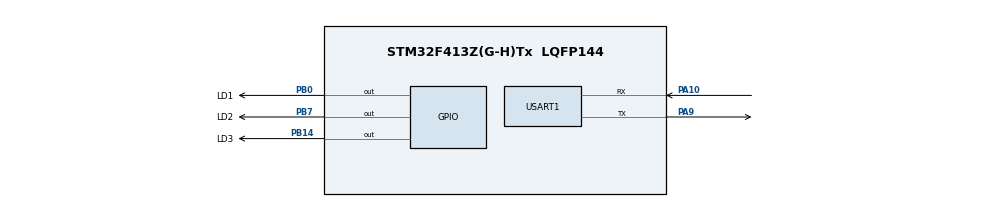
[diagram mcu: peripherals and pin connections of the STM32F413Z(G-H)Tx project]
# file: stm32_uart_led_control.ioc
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Mcu.Family=STM32F4
Mcu.Name=STM32F413Z(G-H)Tx
Mcu.Package=LQFP144
NVIC.PriorityGroup=NVIC_PRIORITYGROUP_4
NVIC.USART1_IRQn=true\:0\:0\:false\:false\:true\:true\:true\:true
PA10.Mode=Asynchronous
PA10.Signal=USART1_RX
PA9.Mode=Asynchronous
PA9.Signal=USART1_TX
PB0.GPIO_Label=LD1
PB0.Signal=GPIO_Output
PB14.GPIO_Label=LD3
PB14.Signal=GPIO_Output
PB7.GPIO_Label=LD2
PB7.Signal=GPIO_Output
ProjectManager.HeapSize=0x200
ProjectManager.StackSize=0x400
ProjectManager.TargetToolchain=STM32CubeIDE
RCC.CortexFreq_Value=16000000
RCC.USBFreq_Value=96000000
RCC.VCOOutputFreq_Value=192000000
USART1.VirtualMode=VM_ASYNC
board=custom

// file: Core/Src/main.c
/* USER CODE BEGIN Header */
/**
  ******************************************************************************
  * @file           : main.c
  * @brief          : Main program body
  ******************************************************************************
  * @attention
  *
  * Copyright (c) 2026 STMicroelectronics.
  * All rights reserved.
  *
  * This software is licensed under terms that can be found in the LICENSE file
  * in the root directory of this software component.
  * If no LICENSE file comes with this software, it is provided AS-IS.
  *
  ******************************************************************************
  */
/* USER CODE END Header */
#include "main.h"

/* USER CODE BEGIN Includes */
#include "string.h"

/* USER CODE END Includes */

UART_HandleTypeDef huart1;

/* USER CODE BEGIN PV */
volatile uint8_t rxData[10];
volatile uint8_t newMessageFlag = 0;
volatile uint8_t rx_index = 0;

/* USER CODE END PV */

void SystemClock_Config(void);
static void MX_GPIO_Init(void);
static void MX_USART1_UART_Init(void);

int main(void)
{

  /* MCU Configuration--------------------------------------------------------*/

  /* Reset of all peripherals, Initializes the Flash interface and the Systick. */
  HAL_Init();

  /* Configure the system clock */
  SystemClock_Config();

  /* Initialize all configured peripherals */
  MX_GPIO_Init();
  MX_USART1_UART_Init();
  /* USER CODE BEGIN 2 */
  HAL_UART_Transmit(&huart1, (uint8_t*)"Ready\r\n", 7, 100);
  __HAL_UART_ENABLE_IT(&huart1, UART_IT_RXNE);
  /* USER CODE END 2 */

  /* Infinite loop */
  while (1)
  {

    /* USER CODE BEGIN 3 */
	      if(newMessageFlag == 1) {
	    	  if(rxData[0]=='L' && rxData[1]=='E' && rxData[2]=='D') {
	    		  if(rxData[3] == '1') HAL_GPIO_TogglePin(GPIOB, LD1_Pin);
	              if(rxData[3] == '2') HAL_GPIO_TogglePin(GPIOB, LD2_Pin);
	              if(rxData[3] == '3') HAL_GPIO_TogglePin(GPIOB, LD3_Pin);
	           }
/* Clear buffer after processing */
	           for(int j = 0; j < 10; j++) {
	        	   rxData[j] = 0;
	        	   rx_index = 0;
	           }
          newMessageFlag = 0;
	      }
  }
  /* USER CODE END 3 */
}

void SystemClock_Config(void)
{
  RCC_OscInitTypeDef RCC_OscInitStruct = {0};
  RCC_ClkInitTypeDef RCC_ClkInitStruct = {0};

  /** Configure the main internal regulator output voltage
  */
  __HAL_RCC_PWR_CLK_ENABLE();
  __HAL_PWR_VOLTAGESCALING_CONFIG(PWR_REGULATOR_VOLTAGE_SCALE1);

  /** Initializes the RCC Oscillators according to the specified parameters
  * in the RCC_OscInitTypeDef structure.
  */
  RCC_OscInitStruct.OscillatorType = RCC_OSCILLATORTYPE_HSI;
  RCC_OscInitStruct.HSIState = RCC_HSI_ON;
  RCC_OscInitStruct.HSICalibrationValue = RCC_HSICALIBRATION_DEFAULT;
  RCC_OscInitStruct.PLL.PLLState = RCC_PLL_NONE;
  if (HAL_RCC_OscConfig(&RCC_OscInitStruct) != HAL_OK)
  {
    Error_Handler();
  }

  /** Initializes the CPU, AHB and APB buses clocks
  */
  RCC_ClkInitStruct.ClockType = RCC_CLOCKTYPE_HCLK|RCC_CLOCKTYPE_SYSCLK
                              |RCC_CLOCKTYPE_PCLK1|RCC_CLOCKTYPE_PCLK2;
  RCC_ClkInitStruct.SYSCLKSource = RCC_SYSCLKSOURCE_HSI;
  RCC_ClkInitStruct.AHBCLKDivider = RCC_SYSCLK_DIV1;
  RCC_ClkInitStruct.APB1CLKDivider = RCC_HCLK_DIV1;
  RCC_ClkInitStruct.APB2CLKDivider = RCC_HCLK_DIV1;

  if (HAL_RCC_ClockConfig(&RCC_ClkInitStruct, FLASH_LATENCY_0) != HAL_OK)
  {
    Error_Handler();
  }
}

static void MX_USART1_UART_Init(void)
{

  huart1.Instance = USART1;
  huart1.Init.BaudRate = 115200;
  huart1.Init.WordLength = UART_WORDLENGTH_8B;
  huart1.Init.StopBits = UART_STOPBITS_1;
  huart1.Init.Parity = UART_PARITY_NONE;
  huart1.Init.Mode = UART_MODE_TX_RX;
  huart1.Init.HwFlowCtl = UART_HWCONTROL_NONE;
  huart1.Init.OverSampling = UART_OVERSAMPLING_16;
  if (HAL_UART_Init(&huart1) != HAL_OK)
  {
    Error_Handler();
  }

}

static void MX_GPIO_Init(void)
{
  GPIO_InitTypeDef GPIO_InitStruct = {0};

  /* GPIO Ports Clock Enable */
  __HAL_RCC_GPIOB_CLK_ENABLE();
  __HAL_RCC_GPIOA_CLK_ENABLE();

  /*Configure GPIO pin Output Level */
  HAL_GPIO_WritePin(GPIOB, LD1_Pin|LD3_Pin|LD2_Pin, GPIO_PIN_RESET);

  /*Configure GPIO pins : LD1_Pin LD3_Pin LD2_Pin */
  GPIO_InitStruct.Pin = LD1_Pin|LD3_Pin|LD2_Pin;
  GPIO_InitStruct.Mode = GPIO_MODE_OUTPUT_PP;
  GPIO_InitStruct.Pull = GPIO_NOPULL;
  GPIO_InitStruct.Speed = GPIO_SPEED_FREQ_LOW;
  HAL_GPIO_Init(GPIOB, &GPIO_InitStruct);

}

void Error_Handler(void)
{
  __disable_irq();
  while (1)
  {
  }
}
